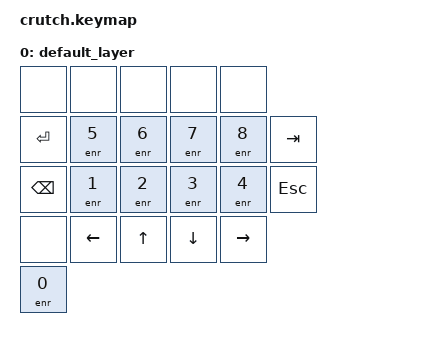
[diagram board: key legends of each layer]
#include <behaviors.dtsi>
#include <dt-bindings/zmk/keys.h>
#include <dt-bindings/zmk/bt.h>
//#include <dt-bindings/zmk/ext_power.h>

/ {
    behaviors {
        #include "macros.dtsi"
        //#include "custom.dtsi"
        //#include "cz.dtsi"
        //#include "ru.dtsi"
        #include "engine.dtsi"  // only uses &enr
    };
    keymap {
        compatible = "zmk,keymap";

        default_layer {  // 0
            bindings = <
// ╭──────────┬──────────┬──────────┬──────────┬──────────╮
      &none      &none      &none      &none      &none
// ├──────────┼──────────┼──────────┼──────────┼──────────┼──────────╮
    &kp RETURN   &enr 5     &enr 6     &enr 7     &enr 8     &kp TAB
// ├──────────┼──────────┼──────────┼──────────┼──────────┼──────────┤
     &kp BSPC    &enr 1     &enr 2     &enr 3     &enr 4   &kp ESCAPE
// ├──────────┼──────────┼──────────┼──────────┼──────────┼──────────╯
      &none     &kp LEFT    &kp UP    &kp DOWN   &kp RIGHT
// ├──────────┼──────────┴──────────┴──────────┴──────────╯
      &enr 0
// ╰──────────╯
            >;
        };
    };
};
